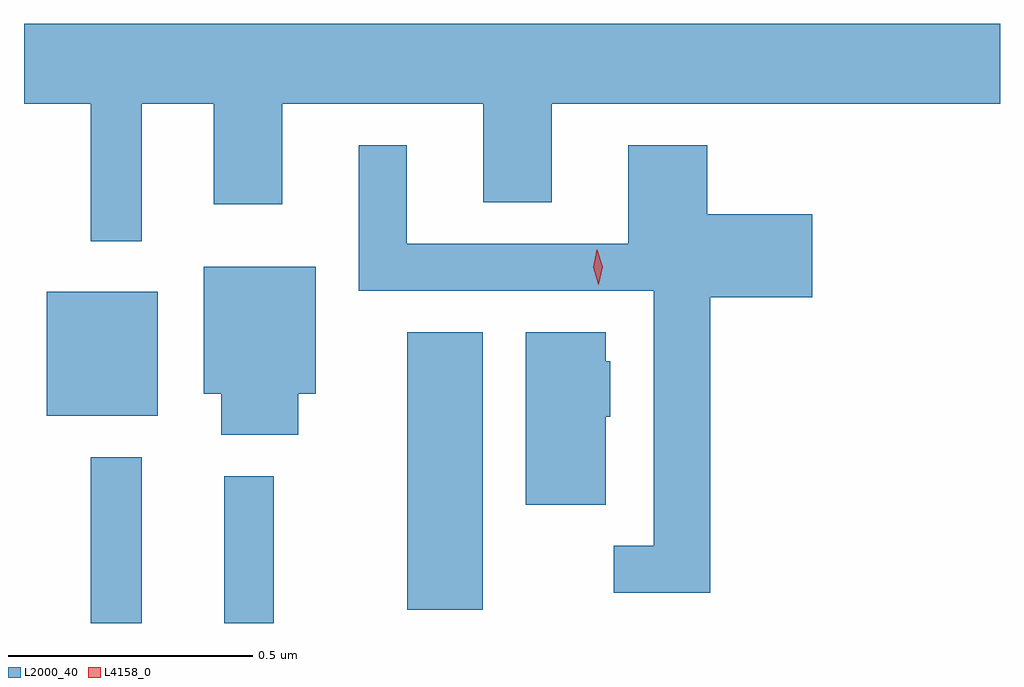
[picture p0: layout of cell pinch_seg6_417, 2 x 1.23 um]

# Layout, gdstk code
import gdstk
lib = gdstk.Library(unit=1e-6, precision=1e-09)
def R(c, l, rs):  # rectangles x0, y0, x1, y1
    for r in rs: c.add(gdstk.rectangle(r[:2], r[2:], *l))
def P(c, l, *ps):  # polygons
    for p in ps: c.add(gdstk.Polygon(p, *l))
L2000_40 = (2000, 40)
L4158_0 = (4158, 0)

pinch_seg6_417 = lib.new_cell('pinch_seg6_417')
R(pinch_seg6_417, L2000_40, [(650.861,924.96,650.965,925.3), (651.134,924.96,651.236,925.261), (651.509,924.987,651.664,925.556), (650.771,925.385,650.998,925.639)])
P(pinch_seg6_417, L2000_40, [(650.965,926.024),(651.113,926.024),(651.113,925.818),(651.253,925.818),(651.253,926.024),(651.665,926.024),(651.665,925.822),(651.805,925.822),(651.805,926.024),(652.724,926.024),(652.724,926.188),(650.724,926.188),(650.724,926.024),(650.861,926.024),(650.861,925.743),(650.965,925.743)],
  [(652.13,925.628),(652.339,925.628),(652.339,925.798),(652.124,925.798),(652.124,925.939),(651.962,925.939),(651.962,925.737),(651.508,925.737),(651.508,925.939),(651.41,925.939),(651.41,925.641),(652.014,925.641),(652.014,925.119),(651.933,925.119),(651.933,925.022),(652.13,925.022)],
  [(651.286,925.43),(651.322,925.43),(651.322,925.69),(651.092,925.69),(651.092,925.43),(651.128,925.43),(651.128,925.346),(651.286,925.346)],
  [(651.916,925.383),(651.925,925.383),(651.925,925.497),(651.916,925.497),(651.916,925.556),(651.752,925.556),(651.752,925.203),(651.916,925.203)])
P(pinch_seg6_417, L4158_0, [(651.902,925.653),(651.901,925.654),(651.89,925.689),(651.898,925.725),(651.898,925.725),(651.899,925.725),(651.91,925.69),(651.902,925.654)])

lib.write_gds('pinch_seg6_417.gds')
